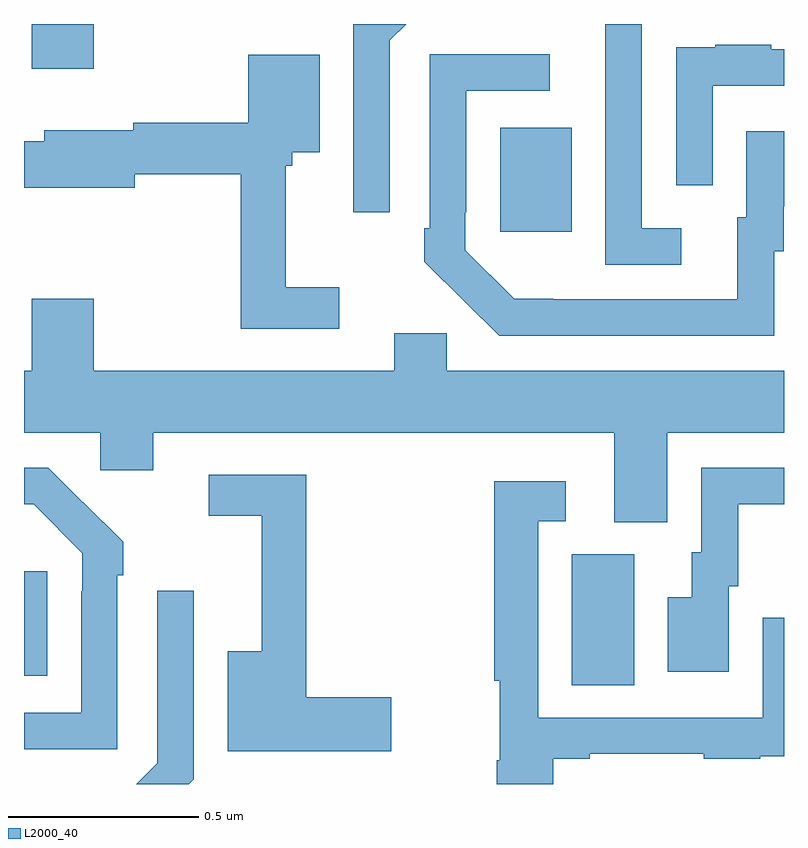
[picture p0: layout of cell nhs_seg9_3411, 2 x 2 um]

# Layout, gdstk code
import gdstk
lib = gdstk.Library(unit=1e-6, precision=1e-09)
def R(c, l, rs):  # rectangles x0, y0, x1, y1
    for r in rs: c.add(gdstk.rectangle(r[:2], r[2:], *l))
def P(c, l, *ps):  # polygons
    for p in ps: c.add(gdstk.Polygon(p, *l))
L2000_40 = (2000, 40)

nhs_seg9_3411 = lib.new_cell('nhs_seg9_3411')
R(nhs_seg9_3411, L2000_40, [(154.442,1191.76,154.606,1192.104), (153,1191.785,153.061,1192.06), (154.253,1192.953,154.441,1193.227), (153.02,1193.382,153.184,1193.5)])
P(nhs_seg9_3411, L2000_40, [(154.729,1192.962),(154.626,1192.962),(154.626,1193.5),(154.529,1193.5),(154.529,1193.323),(154.53,1193.323),(154.53,1192.866),(154.729,1192.866)],
  [(153.963,1193.457),(154.006,1193.5),(153.868,1193.5),(153.867,1193.499),(153.867,1193.004),(153.963,1193.004)],
  [(154.812,1193.337),(155,1193.337),(155,1193.433),(154.967,1193.433),(154.967,1193.446),(154.819,1193.446),(154.819,1193.439),(154.717,1193.439),(154.717,1193.33),(154.716,1193.33),(154.716,1193.076),(154.812,1193.076)],
  [(154.974,1192.902),(154.999,1192.902),(154.999,1193.021),(155,1193.021),(155,1193.218),(154.901,1193.218),(154.901,1192.992),(154.877,1192.992),(154.877,1192.776),(154.393,1192.776),(154.393,1192.777),(154.29,1192.777),(154.161,1192.905),(154.161,1193.005),(154.164,1193.005),(154.164,1193.325),(154.384,1193.325),(154.384,1193.421),(154.068,1193.421),(154.068,1192.963),(154.053,1192.963),(154.053,1192.875),(154.158,1192.77),(154.159,1192.771),(154.25,1192.68),(154.974,1192.68)],
  [(153.829,1192.807),(153.689,1192.807),(153.689,1193.127),(153.706,1193.127),(153.706,1193.162),(153.778,1193.162),(153.778,1193.419),(153.59,1193.419),(153.59,1193.24),(153.288,1193.24),(153.288,1193.221),(153.053,1193.221),(153.053,1193.191),(153,1193.191),(153,1193.069),(153.292,1193.069),(153.292,1193.104),(153.571,1193.104),(153.571,1192.698),(153.829,1192.698)],
  [(154.693,1192.424),(155,1192.424),(155,1192.588),(154.113,1192.588),(154.113,1192.686),(153.974,1192.686),(153.974,1192.588),(153.184,1192.588),(153.184,1192.777),(153.02,1192.777),(153.02,1192.588),(153,1192.588),(153,1192.424),(153.201,1192.424),(153.201,1192.326),(153.34,1192.326),(153.34,1192.424),(154.553,1192.424),(154.553,1192.189),(154.693,1192.189)],
  [(153.246,1192.049),(153.261,1192.049),(153.261,1192.137),(153.156,1192.242),(153.155,1192.241),(153.064,1192.332),(153,1192.332),(153,1192.236),(153.025,1192.236),(153.153,1192.107),(153.153,1192.007),(153.15,1192.007),(153.15,1191.687),(153,1191.687),(153,1191.591),(153.246,1191.591)],
  [(154.855,1192.02),(154.879,1192.02),(154.879,1192.236),(155,1192.236),(155,1192.332),(154.782,1192.332),(154.782,1192.11),(154.757,1192.11),(154.757,1191.991),(154.694,1191.991),(154.694,1191.795),(154.855,1191.795)],
  [(153.967,1191.728),(153.743,1191.728),(153.743,1192.314),(153.486,1192.314),(153.486,1192.206),(153.626,1192.206),(153.626,1191.85),(153.536,1191.85),(153.536,1191.586),(153.967,1191.586)],
  [(154.393,1191.567),(154.489,1191.567),(154.489,1191.579),(154.789,1191.579),(154.789,1191.567),(154.937,1191.567),(154.937,1191.573),(155,1191.573),(155,1191.937),(154.944,1191.937),(154.944,1191.675),(154.353,1191.675),(154.353,1192.191),(154.426,1192.191),(154.426,1192.297),(154.237,1192.297),(154.237,1191.772),(154.252,1191.772),(154.252,1191.562),(154.244,1191.562),(154.244,1191.5),(154.393,1191.5)],
  [(153.447,1191.513),(153.447,1192.009),(153.351,1192.009),(153.351,1191.555),(153.296,1191.5),(153.434,1191.5)])

lib.write_gds('nhs_seg9_3411.gds')
